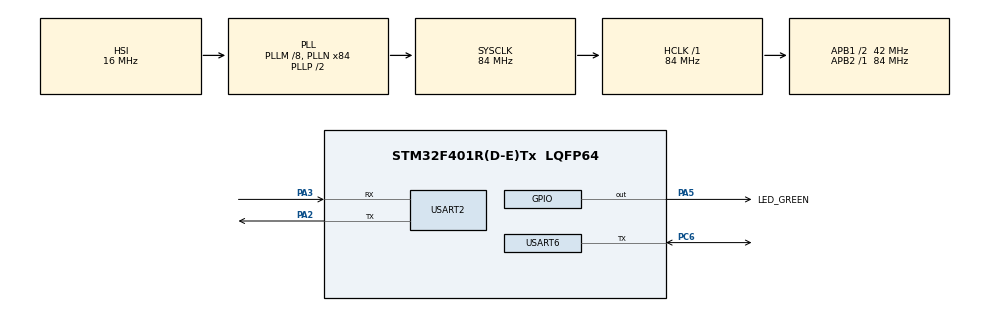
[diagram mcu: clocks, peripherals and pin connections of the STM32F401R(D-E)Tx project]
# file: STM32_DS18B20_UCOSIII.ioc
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Dma.Request0=USART2_RX
Dma.Request1=USART2_TX
Dma.Request2=USART6_RX
Dma.Request3=USART6_TX
Dma.USART2_RX.0.Direction=DMA_PERIPH_TO_MEMORY
Dma.USART2_RX.0.FIFOMode=DMA_FIFOMODE_DISABLE
Dma.USART2_RX.0.Instance=DMA1_Stream5
Dma.USART2_RX.0.MemDataAlignment=DMA_MDATAALIGN_BYTE
Dma.USART2_RX.0.MemInc=DMA_MINC_ENABLE
Dma.USART2_RX.0.Mode=DMA_CIRCULAR
Dma.USART2_RX.0.PeriphDataAlignment=DMA_PDATAALIGN_BYTE
Dma.USART2_RX.0.PeriphInc=DMA_PINC_DISABLE
Dma.USART2_RX.0.Priority=DMA_PRIORITY_LOW
Dma.USART2_TX.1.Direction=DMA_MEMORY_TO_PERIPH
Dma.USART2_TX.1.FIFOMode=DMA_FIFOMODE_DISABLE
Dma.USART2_TX.1.Instance=DMA1_Stream6
Dma.USART2_TX.1.MemDataAlignment=DMA_MDATAALIGN_BYTE
Dma.USART2_TX.1.MemInc=DMA_MINC_ENABLE
Dma.USART2_TX.1.Mode=DMA_NORMAL
Dma.USART2_TX.1.PeriphDataAlignment=DMA_PDATAALIGN_BYTE
Dma.USART2_TX.1.PeriphInc=DMA_PINC_DISABLE
Dma.USART2_TX.1.Priority=DMA_PRIORITY_LOW
Dma.USART6_RX.2.Direction=DMA_PERIPH_TO_MEMORY
Dma.USART6_RX.2.FIFOMode=DMA_FIFOMODE_DISABLE
Dma.USART6_RX.2.Instance=DMA2_Stream1
Dma.USART6_RX.2.MemDataAlignment=DMA_MDATAALIGN_BYTE
Dma.USART6_RX.2.MemInc=DMA_MINC_ENABLE
Dma.USART6_RX.2.Mode=DMA_NORMAL
Dma.USART6_RX.2.PeriphDataAlignment=DMA_PDATAALIGN_BYTE
Dma.USART6_RX.2.PeriphInc=DMA_PINC_DISABLE
Dma.USART6_RX.2.Priority=DMA_PRIORITY_LOW
Dma.USART6_TX.3.Direction=DMA_MEMORY_TO_PERIPH
Dma.USART6_TX.3.FIFOMode=DMA_FIFOMODE_DISABLE
Dma.USART6_TX.3.Instance=DMA2_Stream6
Dma.USART6_TX.3.MemDataAlignment=DMA_MDATAALIGN_BYTE
Dma.USART6_TX.3.MemInc=DMA_MINC_ENABLE
Dma.USART6_TX.3.Mode=DMA_NORMAL
Dma.USART6_TX.3.PeriphDataAlignment=DMA_PDATAALIGN_BYTE
Dma.USART6_TX.3.PeriphInc=DMA_PINC_DISABLE
Dma.USART6_TX.3.Priority=DMA_PRIORITY_LOW
Mcu.Family=STM32F4
Mcu.Name=STM32F401R(D-E)Tx
Mcu.Package=LQFP64
NVIC.DMA1_Stream5_IRQn=true\:10\:0\:true\:false\:true\:false\:true
NVIC.DMA1_Stream6_IRQn=true\:10\:0\:true\:false\:true\:false\:true
NVIC.DMA2_Stream1_IRQn=true\:10\:0\:true\:false\:true\:false\:true
NVIC.DMA2_Stream6_IRQn=true\:10\:0\:true\:false\:true\:false\:true
NVIC.PriorityGroup=NVIC_PRIORITYGROUP_4
NVIC.TIM1_UP_TIM10_IRQn=true\:0\:0\:false\:false\:true\:false\:true
NVIC.TimeBase=TIM1_UP_TIM10_IRQn
NVIC.TimeBaseIP=TIM10
NVIC.USART2_IRQn=true\:10\:0\:true\:false\:true\:true\:true
PA13.Mode=Serial_Wire
PA13.Signal=SYS_JTMS-SWDIO
PA14.Mode=Serial_Wire
PA14.Signal=SYS_JTCK-SWCLK
PA2.Mode=Asynchronous
PA2.Signal=USART2_TX
PA3.Mode=Asynchronous
PA3.Signal=USART2_RX
PA5.GPIO_Label=LED_GREEN
PA5.Signal=GPIO_Output
PC6.Mode=Half_duplex(single_wire_mode)
PC6.Signal=USART6_TX
ProjectManager.HeapSize=0x200
ProjectManager.StackSize=0x400
ProjectManager.TargetToolchain=STM32CubeIDE
RCC.48MHZClocksFreq_Value=42000000
RCC.AHBFreq_Value=84000000
RCC.APB1CLKDivider=RCC_HCLK_DIV2
RCC.APB1Freq_Value=42000000
RCC.APB1TimFreq_Value=84000000
RCC.APB2Freq_Value=84000000
RCC.APB2TimFreq_Value=84000000
RCC.CortexFreq_Value=84000000
RCC.HCLKFreq_Value=84000000
RCC.HSE_VALUE=25000000
RCC.HSI_VALUE=16000000
RCC.LSE_VALUE=32768
RCC.PLLM=8
RCC.PLLN=84
RCC.SYSCLKFreq_VALUE=84000000
RCC.SYSCLKSource=RCC_SYSCLKSOURCE_PLLCLK
RCC.VCOOutputFreq_Value=168000000
USART2.VirtualMode=VM_ASYNC
USART6.VirtualMode=VM_ASYNC
VP_SYS_VS_tim10.Mode=TIM10
board=custom

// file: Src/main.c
/* USER CODE BEGIN Header */
/**
  ******************************************************************************
  * @file           : main.c
  * @brief          : Main program body
  ******************************************************************************
  * @attention
  *
  * <h2><center>&copy; Copyright (c) 2019 STMicroelectronics.
  * All rights reserved.</center></h2>
  *
  * This software component is licensed by ST under BSD 3-Clause license,
  * the "License"; You may not use this file except in compliance with the
  * License. You may obtain a copy of the License at:
  *                        opensource.org/licenses/BSD-3-Clause
  *
  ******************************************************************************
  */
/* USER CODE END Header */

#include "main.h"
#include "dma.h"
#include "usart.h"
#include "gpio.h"

/* USER CODE BEGIN Includes */
#include "os.h"
#include "lib_mem.h"
#include "bsp.h"
/* USER CODE END Includes */

/* USER CODE BEGIN PD */
#define      STARTUP_TASK_STACK_SIZE 256u
#define      STARTUP_TASK_PRIORITY   3u
CPU_STK      Startup_Task_Stack[STARTUP_TASK_STACK_SIZE];
OS_TCB       Startup_Task_TCB;
static void  Startup_Task(void  *p_arg);
/* USER CODE END PD */

void SystemClock_Config(void);
/* USER CODE BEGIN PFP */

extern void DS18B20_Thread_Add();
extern void Print_Thread_Add();

/* USER CODE END PFP */

/* USER CODE BEGIN 0 */
void Startup_Task(void  *p_arg)
    {
    OS_ERR  os_err;

    Print_Thread_Add();
    DS18B20_Thread_Add();

    while(1)
	{
	HAL_GPIO_TogglePin(LED_GREEN_GPIO_Port, LED_GREEN_Pin);
	OSTimeDly(100, OS_OPT_TIME_DLY, &os_err);
	}

    }
/* USER CODE END 0 */

int main(void)
{

  /* MCU Configuration--------------------------------------------------------*/

  /* Reset of all peripherals, Initializes the Flash interface and the Systick. */
  HAL_Init();

  /* Configure the system clock */
  SystemClock_Config();

  /* Initialize all configured peripherals */
  MX_GPIO_Init();
  MX_DMA_Init();
  MX_USART2_UART_Init();
  MX_USART6_UART_Init();
  /* USER CODE BEGIN 2 */

#if (TRC_USE_TRACEALYZER_RECORDER == 1)
  vTraceEnable(TRC_START);
#endif

    OS_ERR  os_err;

    Mem_Init();                                                 /* Initialize Memory Managment Module                   */
    CPU_IntDis();                                               /* Disable all Interrupts                               */
    CPU_Init();                                                 /* Initialize the uC/CPU services                       */

    OSInit(&os_err);                                            /* Initialize uC/OS-III                                 */
    if (os_err != OS_ERR_NONE) {
        while (1);
    }

    OSTaskCreate(&Startup_Task_TCB,                               /* Create the startup task                              */
                 "Startup Task",
		  Startup_Task,
                  0u,
		  STARTUP_TASK_PRIORITY,
                  &Startup_Task_Stack[0u],
		  Startup_Task_Stack[STARTUP_TASK_STACK_SIZE / 10u],
		  STARTUP_TASK_STACK_SIZE,
                  0u,
                  0u,
                  0u,
                  (OS_OPT_TASK_STK_CHK | OS_OPT_TASK_STK_CLR),
                  &os_err);
    if (os_err != OS_ERR_NONE) {
        while (1);
    }

    OSStart(&os_err);                                           /* Start multitasking (i.e. give control to uC/OS-III)  */

    while (DEF_ON) {                                            /* Should Never Get Here.                               */
        ;
    }

  /* USER CODE END 2 */

  /* Infinite loop */
  while (1)
  {

  }
}

void SystemClock_Config(void)
{
  RCC_OscInitTypeDef RCC_OscInitStruct = {0};
  RCC_ClkInitTypeDef RCC_ClkInitStruct = {0};

  /** Configure the main internal regulator output voltage
  */
  __HAL_RCC_PWR_CLK_ENABLE();
  __HAL_PWR_VOLTAGESCALING_CONFIG(PWR_REGULATOR_VOLTAGE_SCALE2);
  /** Initializes the CPU, AHB and APB busses clocks
  */
  RCC_OscInitStruct.OscillatorType = RCC_OSCILLATORTYPE_HSI;
  RCC_OscInitStruct.HSIState = RCC_HSI_ON;
  RCC_OscInitStruct.HSICalibrationValue = RCC_HSICALIBRATION_DEFAULT;
  RCC_OscInitStruct.PLL.PLLState = RCC_PLL_ON;
  RCC_OscInitStruct.PLL.PLLSource = RCC_PLLSOURCE_HSI;
  RCC_OscInitStruct.PLL.PLLM = 8;
  RCC_OscInitStruct.PLL.PLLN = 84;
  RCC_OscInitStruct.PLL.PLLP = RCC_PLLP_DIV2;
  RCC_OscInitStruct.PLL.PLLQ = 4;
  if (HAL_RCC_OscConfig(&RCC_OscInitStruct) != HAL_OK)
  {
    Error_Handler();
  }
  /** Initializes the CPU, AHB and APB busses clocks
  */
  RCC_ClkInitStruct.ClockType = RCC_CLOCKTYPE_HCLK|RCC_CLOCKTYPE_SYSCLK
                              |RCC_CLOCKTYPE_PCLK1|RCC_CLOCKTYPE_PCLK2;
  RCC_ClkInitStruct.SYSCLKSource = RCC_SYSCLKSOURCE_PLLCLK;
  RCC_ClkInitStruct.AHBCLKDivider = RCC_SYSCLK_DIV1;
  RCC_ClkInitStruct.APB1CLKDivider = RCC_HCLK_DIV2;
  RCC_ClkInitStruct.APB2CLKDivider = RCC_HCLK_DIV1;

  if (HAL_RCC_ClockConfig(&RCC_ClkInitStruct, FLASH_LATENCY_2) != HAL_OK)
  {
    Error_Handler();
  }
}

void HAL_TIM_PeriodElapsedCallback(TIM_HandleTypeDef *htim)
{
  if (htim->Instance == TIM10) {
    HAL_IncTick();
  }
}

void Error_Handler(void)
{
}

/************************ (C) COPYRIGHT STMicroelectronics *****END OF FILE****/
